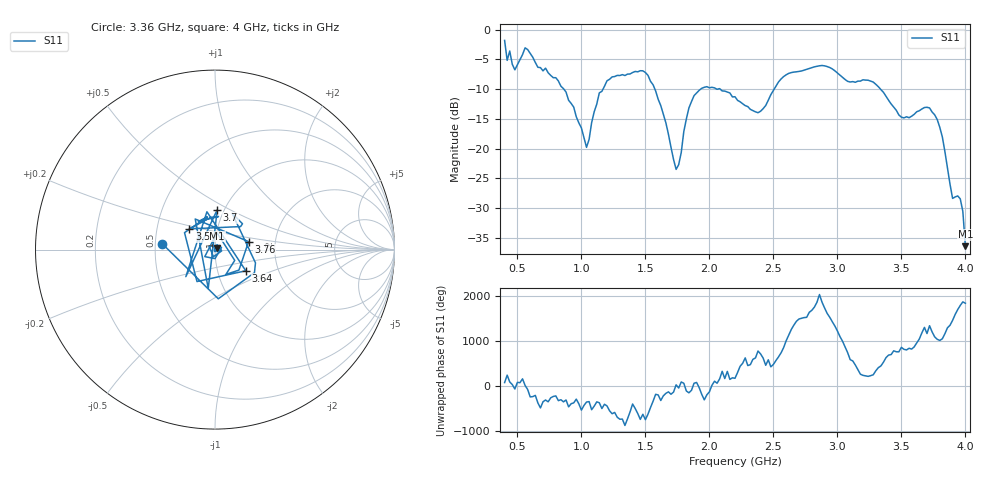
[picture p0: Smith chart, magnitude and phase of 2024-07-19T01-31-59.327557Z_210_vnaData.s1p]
!Created with skrf (http://scikit-rf.org).
# Hz S RI R 50.0
!freq ReS11 ImS11
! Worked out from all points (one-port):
!   181 points, 400 MHz to 4 GHz, reference 50 ohm
!   lowest |S11| = -36.4 dB at 4 GHz (marker M1), VSWR 1.03, Z = 51.2 + j0.943 ohm
!   |S11| at or under -10 dB: 1.574 GHz to 1.932 GHz (358.3 MHz wide, 20.4 % of centre); 2.084 GHz to 2.506 GHz (421.8 MHz wide, 18.4 % of centre); 3.336 GHz to end of sweep (the widest 3 of 5)
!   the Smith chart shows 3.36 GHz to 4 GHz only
!   S11 on the Smith chart (normalised r, x): 3.36 GHz: 0.54, +0.04; 3.5 GHz: 0.73, +0.17; 3.64 GHz: 1.37, -0.34; 3.7 GHz: 0.93, +0.43; 3.76 GHz: 1.45, +0.13; 4 GHz: 1.02, +0.02
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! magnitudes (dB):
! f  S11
! 400 MHz  -1.8
! 420 MHz  -5.2
! 440 MHz  -3.6
! 480 MHz  -6.8
! 560 MHz  -3.1
! 860 MHz  -9.9
! 1.04 GHz  -19.8
! 1.14 GHz  -10.6
! 1.3 GHz  -7.7
! 1.52 GHz  -7.7
! 1.62 GHz  -12.8
! 1.74 GHz  -23.5
! 1.76 GHz  -22.7
! 1.88 GHz  -11.1
! 2.2 GHz  -11.3
! 2.38 GHz  -14.0
! 2.66 GHz  -7.1
! 3.1 GHz  -8.8
! 3.36 GHz  -10.5
! 3.5 GHz  -14.7
! 3.56 GHz  -14.8
! 3.64 GHz  -13.6
! 3.7 GHz  -13.1
! 3.76 GHz  -14.3
! 3.82 GHz  -18.0
! 3.9 GHz  -28.3
! 3.96 GHz  -28.4
! 4 GHz  -36.4
